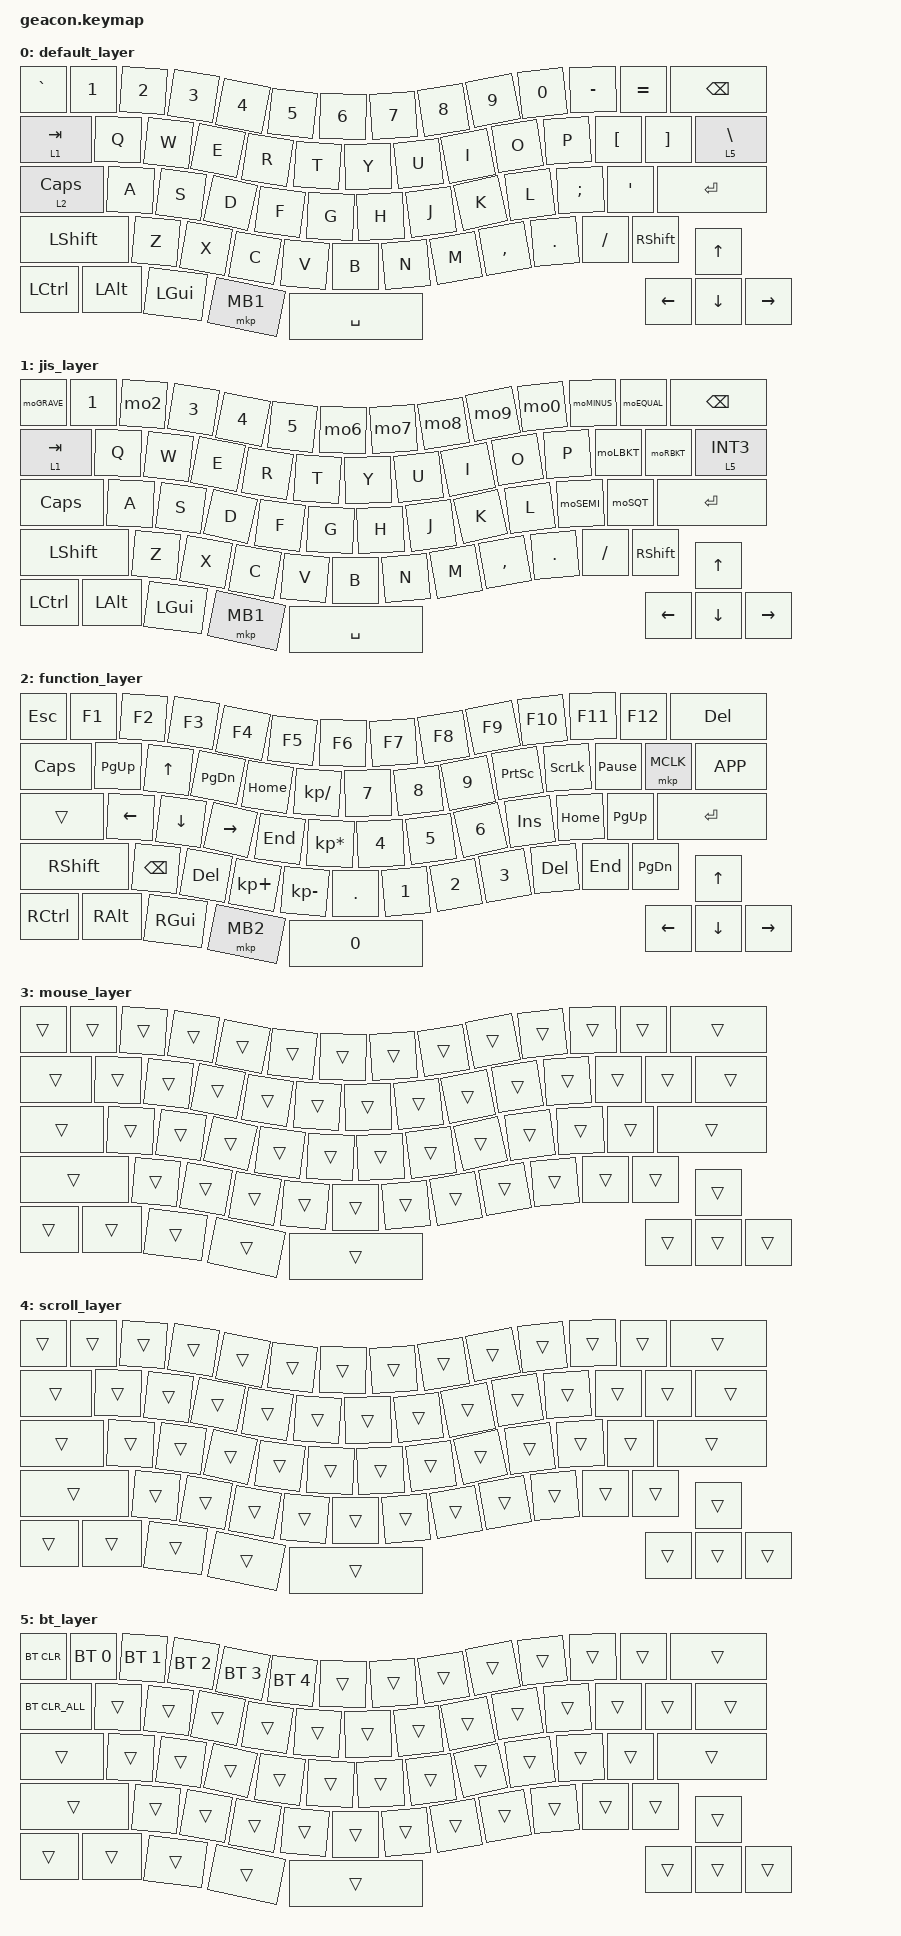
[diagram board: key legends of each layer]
#include <behaviors/rgbled_widget.dtsi>
#include <behaviors.dtsi>
#include <dt-bindings/zmk/bt.h>
#include <dt-bindings/zmk/keys.h>
#include <dt-bindings/zmk/pointing.h>

#define JIS 1
#define MOUSE 3
#define SCROLL 4
#define BT 5

&mt {
    flavor = "tap-preferred";
    quick_tap_ms = <125>;
    tapping_term_ms = <250>;
};

/ {
    macros {
        to_layer_0: to_layer_0 {
            compatible = "zmk,behavior-macro-one-param";
            #binding-cells = <1>;
            bindings = <&to 0 &macro_param_1to1 &kp MACRO_PLACEHOLDER>;
            label = "TO_LAYER_0";
        };
    };

    behaviors {
        lt_to_layer_0: lt_to_layer_0 {
            compatible = "zmk,behavior-hold-tap";
            label = "LAYER_TAP_TO_0";
            bindings = <&mo>, <&to_layer_0>;

            #binding-cells = <2>;
            tapping-term-ms = <200>;
        };

        toJIS: toJIS {
            compatible = "zmk,behavior-hold-tap";
            label = "toJIS";
            #binding-cells = <2>;
            tapping-term-ms = <200>;
            quick-tap-ms = <0>;
            bindings = <&tog>, <&kp>;
        };

        mo2: mo2 {
            compatible = "zmk,behavior-mod-morph";
            #binding-cells = <0>;
            bindings = <&kp N2>, <&kp LBKT>;

            mods = <(MOD_LSFT|MOD_RSFT)>;
        };

        mo6: mo6 {
            compatible = "zmk,behavior-mod-morph";
            #binding-cells = <0>;
            bindings = <&kp N6>, <&kp EQUAL>;

            mods = <(MOD_LSFT|MOD_RSFT)>;
        };

        mo7: mo7 {
            compatible = "zmk,behavior-mod-morph";
            #binding-cells = <0>;
            bindings = <&kp N7>, <&kp LS(N6)>;

            mods = <(MOD_LSFT|MOD_RSFT)>;
        };

        mo8: mo8 {
            compatible = "zmk,behavior-mod-morph";
            #binding-cells = <0>;
            bindings = <&kp N8>, <&kp LS(SQT)>;

            mods = <(MOD_LSFT|MOD_RSFT)>;
        };

        mo9: mo9 {
            compatible = "zmk,behavior-mod-morph";
            #binding-cells = <0>;
            bindings = <&kp N9>, <&kp LS(N8)>;

            mods = <(MOD_LSFT|MOD_RSFT)>;
        };

        mo0: mo0 {
            compatible = "zmk,behavior-mod-morph";
            #binding-cells = <0>;
            bindings = <&kp N0>, <&kp LS(N9)>;

            mods = <(MOD_LSFT|MOD_RSFT)>;
        };

        moMINUS: moMINUS {
            compatible = "zmk,behavior-mod-morph";
            #binding-cells = <0>;
            bindings = <&kp MINUS>, <&kp LS(INT_RO)>;

            mods = <(MOD_LSFT|MOD_RSFT)>;
        };

        moEQUAL: moEQUAL {
            compatible = "zmk,behavior-mod-morph";
            #binding-cells = <0>;
            bindings = <&kp LS(MINUS)>, <&kp COLON>;

            mods = <(MOD_LSFT|MOD_RSFT)>;
        };

        moLBKT: moLBKT {
            compatible = "zmk,behavior-mod-morph";
            #binding-cells = <0>;
            bindings = <&kp RBKT>, <&kp LS(RBRC)>;

            mods = <(MOD_LSFT|MOD_RSFT)>;
        };

        moRBKT: moRBKT {
            compatible = "zmk,behavior-mod-morph";
            #binding-cells = <0>;
            bindings = <&kp BSLH>, <&kp LS(BSLH)>;

            mods = <(MOD_LSFT|MOD_RSFT)>;
        };

        moSEMI: moSEMI {
            compatible = "zmk,behavior-mod-morph";
            #binding-cells = <0>;
            bindings = <&kp SEMI>, <&kp SQT>;

            mods = <(MOD_LSFT|MOD_RSFT)>;
        };

        moSQT: moSQT {
            compatible = "zmk,behavior-mod-morph";
            #binding-cells = <0>;
            bindings = <&kp LS(N7)>, <&kp LS(N2)>;

            mods = <(MOD_LSFT|MOD_RSFT)>;
        };

        moGRAVE: moGRAVE {
            compatible = "zmk,behavior-mod-morph";
            #binding-cells = <0>;
            bindings = <&kp LS(LBRC)>, <&kp LS(EQUAL)>;

            mods = <(MOD_LSFT|MOD_RSFT)>;
        };
    };

    keymap {
        compatible = "zmk,keymap";

        default_layer {
            bindings = <
&kp GRAVE     &kp N1    &kp N2    &kp N3    &kp N4     &kp N5    &kp N6    &kp N7     &kp N8     &kp N9   &kp N0    &kp MINUS  &kp EQUAL  &kp BACKSPACE
&toJIS 1 TAB  &kp Q     &kp W     &kp E     &kp R      &kp T     &kp Y     &kp U      &kp I      &kp O    &kp P     &kp LBKT   &kp RBKT   &lt 5 BSLH
&lt 2 CAPS    &kp A     &kp S     &kp D     &kp F      &kp G     &kp H     &kp J      &kp K      &kp L    &kp SEMI  &kp SQT    &kp ENTER
&kp LSHFT     &kp Z     &kp X     &kp C     &kp V      &kp B     &kp N     &kp M      &kp COMMA  &kp DOT  &kp FSLH  &kp RSHFT  &kp UP
&kp LCTRL     &kp LALT  &kp LGUI  &mkp MB1  &kp SPACE  &kp LEFT  &kp DOWN  &kp RIGHT
            >;
        };

        jis_layer {
            bindings = <
&moGRAVE      &kp N1    &mo2      &kp N3    &kp N4     &kp N5    &mo6      &mo7       &mo8       &mo9     &mo0      &moMINUS   &moEQUAL   &kp BACKSPACE
&toJIS 1 TAB  &kp Q     &kp W     &kp E     &kp R      &kp T     &kp Y     &kp U      &kp I      &kp O    &kp P     &moLBKT    &moRBKT    &lt 5 INT3
&kp CAPS      &kp A     &kp S     &kp D     &kp F      &kp G     &kp H     &kp J      &kp K      &kp L    &moSEMI   &moSQT     &kp ENTER
&kp LSHFT     &kp Z     &kp X     &kp C     &kp V      &kp B     &kp N     &kp M      &kp COMMA  &kp DOT  &kp FSLH  &kp RSHFT  &kp UP
&kp LCTRL     &kp LALT  &kp LGUI  &mkp MB1  &kp SPACE  &kp LEFT  &kp DOWN  &kp RIGHT
            >;
        };

        function_layer {
            bindings = <
&kp ESCAPE  &kp F1         &kp F2    &kp F3       &kp F4        &kp F5           &kp F6    &kp F7     &kp F8  &kp F9     &kp F10   &kp F11          &kp F12       &kp DEL
&kp CAPS    &kp PG_UP      &kp UP    &kp PG_DN    &kp HOME      &kp KP_DIVIDE    &kp N7    &kp N8     &kp N9  &kp PSCRN  &kp SLCK  &kp PAUSE_BREAK  &mkp MCLK     &kp K_APP
&trans      &kp LEFT       &kp DOWN  &kp RIGHT    &kp END       &kp KP_ASTERISK  &kp N4    &kp N5     &kp N6  &kp INS    &kp HOME  &kp PG_UP        &kp ENTER
&kp RSHIFT  &kp BACKSPACE  &kp DEL   &kp KP_PLUS  &kp KP_MINUS  &kp DOT          &kp N1    &kp N2     &kp N3  &kp DEL    &kp END   &kp PAGE_DOWN    &kp UP_ARROW
&kp RCTRL   &kp RALT       &kp RGUI  &mkp MB2     &kp N0        &kp LEFT         &kp DOWN  &kp RIGHT
            >;
        };

        mouse_layer {
            bindings = <
&trans  &trans  &trans  &trans  &trans  &trans  &trans  &trans  &trans  &trans  &trans  &trans  &trans  &trans
&trans  &trans  &trans  &trans  &trans  &trans  &trans  &trans  &trans  &trans  &trans  &trans  &trans  &trans
&trans  &trans  &trans  &trans  &trans  &trans  &trans  &trans  &trans  &trans  &trans  &trans  &trans
&trans  &trans  &trans  &trans  &trans  &trans  &trans  &trans  &trans  &trans  &trans  &trans  &trans
&trans  &trans  &trans  &trans  &trans  &trans  &trans  &trans
            >;
        };

        scroll_layer {
            bindings = <
&trans  &trans  &trans  &trans  &trans  &trans  &trans  &trans  &trans  &trans  &trans  &trans  &trans  &trans
&trans  &trans  &trans  &trans  &trans  &trans  &trans  &trans  &trans  &trans  &trans  &trans  &trans  &trans
&trans  &trans  &trans  &trans  &trans  &trans  &trans  &trans  &trans  &trans  &trans  &trans  &trans
&trans  &trans  &trans  &trans  &trans  &trans  &trans  &trans  &trans  &trans  &trans  &trans  &trans
&trans  &trans  &trans  &trans  &trans  &trans  &trans  &trans
            >;
        };

        bt_layer {
            bindings = <
&bt BT_CLR      &bt BT_SEL 0  &bt BT_SEL 1  &bt BT_SEL 2  &bt BT_SEL 3  &bt BT_SEL 4  &trans  &trans  &trans  &trans  &trans  &trans  &trans  &trans
&bt BT_CLR_ALL  &trans        &trans        &trans        &trans        &trans        &trans  &trans  &trans  &trans  &trans  &trans  &trans  &trans
&trans          &trans        &trans        &trans        &trans        &trans        &trans  &trans  &trans  &trans  &trans  &trans  &trans
&trans          &trans        &trans        &trans        &trans        &trans        &trans  &trans  &trans  &trans  &trans  &trans  &trans
&trans          &trans        &trans        &trans        &trans        &trans        &trans  &trans
            >;
        };
    };
};

/ {
    aliases {
        led-red = &led0;
        led-green = &led1;
        led-blue = &led2;
    };

    leds {
        compatible = "gpio-leds";
        status = "okay";

        led0: led_0 {
            gpios = <&gpio0 26 GPIO_ACTIVE_LOW>;  // red LED, connected to P0.26
        };

        led1: led_1 {
            gpios = <&gpio0 30 GPIO_ACTIVE_LOW>;  // green LED, connected to P0.30
        };

        led2: led_2 {
            gpios = <&gpio0 6 GPIO_ACTIVE_LOW>;  // blue LED, connected to P0.06
        };
    };
};
